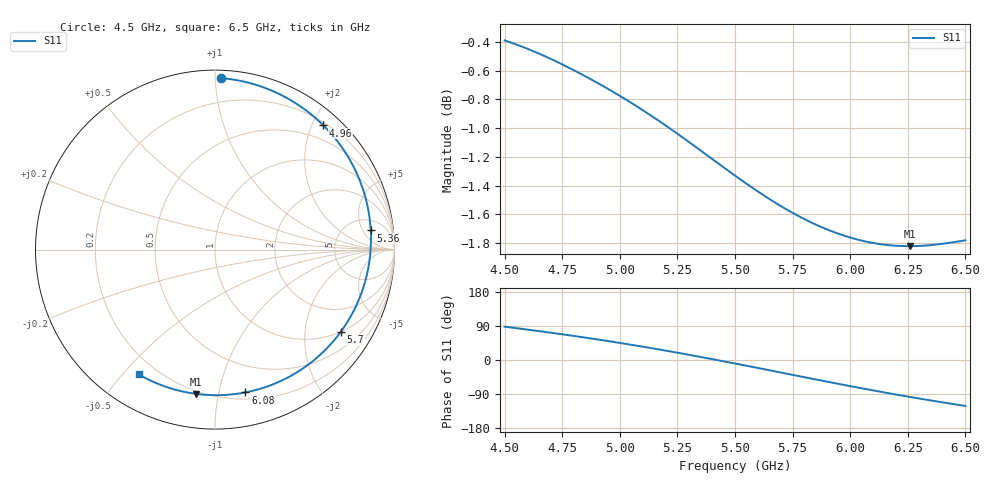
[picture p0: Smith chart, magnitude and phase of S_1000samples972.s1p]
! TOUCHSTONE file generated by CST MICROWAVE STUDIO
! Date and time: Sat Oct 29 23:18:46 2022
! Project name: L.cst
! Parameters = {Di=1.27; Epsilon_r=1.56; InnerDiameter=1.27; Length=2; Lf=10; Lg=60; OuterConductorThickness=0.2921; OuterDiameter=3.6; Wf=3; Wp=41.2; de=1.5; df=6.8; g=0.8; gx=3.71135; gy=2.23072; h=2.34; hf=1.524; px=10.0251; py=8.04984; w=9.7; wx=6.31375; wy=5.81912}
! Header version: 2018
! Port assignment regex: !\s*Touchstone port\s*([0-9]+)\s*=\s*(CST MWS port|CST DS port)\s*([0-9]+|Zmin|Zmax)\s*\(\"(.*)\"\)(\s*mode\s*([0-9]+))?.*
! Touchstone port assignment:
! Touchstone port 1 = CST MWS port 1 ("")
# GHz S DB R 50
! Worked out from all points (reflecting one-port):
!   101 points, 4.5 GHz to 6.5 GHz, reference 50 ohm
!   lowest |S11| = -1.8 dB at 6.26 GHz (marker M1), VSWR 9.57, Z = 9.16 - j43 ohm
!   phase of S11 starts at 88 deg and turns -209 deg over the sweep
!   S11 on the Smith chart (normalised r, x): 4.5 GHz: 0.05, +1.04; 4.96 GHz: 0.25, +2.18; 5.36 GHz: 8, +7; 5.7 GHz: 1.00, -3.06; 6.08 GHz: 0.26, -1.20; 6.5 GHz: 0.13, -0.55
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4.5  -0.39 87.9
4.58  -0.44 81.7
4.64  -0.48 76.9
4.76  -0.57 66.9
4.86  -0.65 58.1
4.96  -0.74 48.9
5  -0.78 45.0
5.06  -0.84 39.1
5.14  -0.92 31.0
5.2  -0.98 24.7
5.26  -1.05 18.2
5.36  -1.17 7.0
5.44  -1.26 -2.2
5.5  -1.33 -9.2
5.54  -1.38 -14.0
5.6  -1.44 -21.1
5.7  -1.54 -33.2
5.76  -1.60 -40.4
5.82  -1.65 -47.6
5.88  -1.69 -54.8
5.94  -1.73 -61.9
6  -1.76 -68.9
6.08  -1.79 -78.0
6.16  -1.81 -86.9
6.26  -1.82 -97.6
6.32  -1.82 -103.7
6.38  -1.81 -109.8
6.5  -1.78 -121.3
